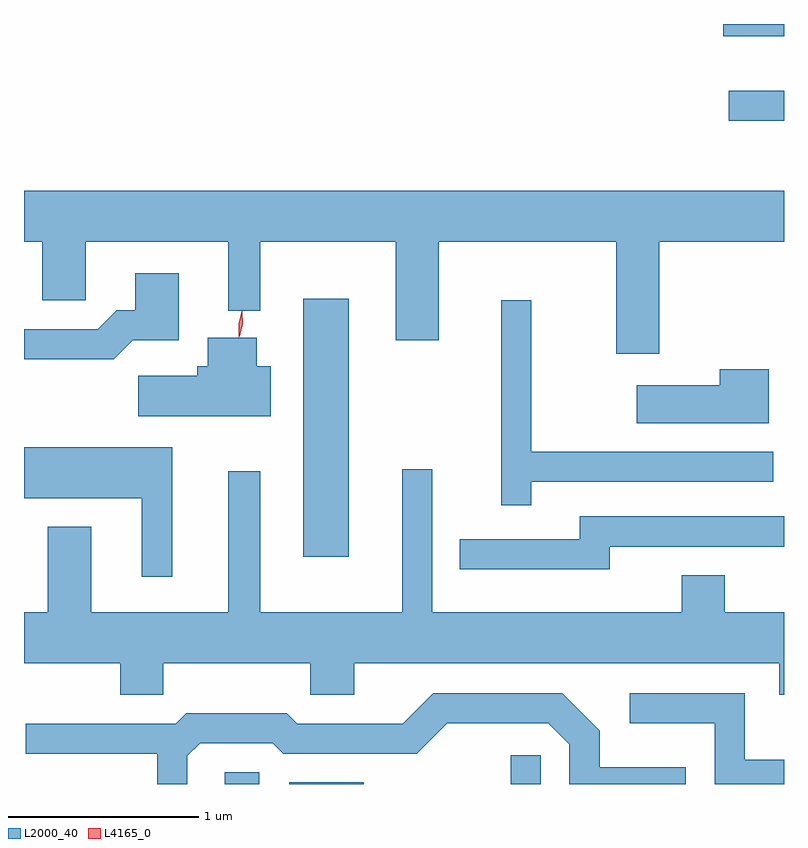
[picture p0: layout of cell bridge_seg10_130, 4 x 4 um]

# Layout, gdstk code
import gdstk
lib = gdstk.Library(unit=1e-6, precision=1e-09)
def R(c, l, rs):  # rectangles x0, y0, x1, y1
    for r in rs: c.add(gdstk.rectangle(r[:2], r[2:], *l))
def P(c, l, *ps):  # polygons
    for p in ps: c.add(gdstk.Polygon(p, *l))
L2000_40 = (2000, 40)
L4165_0 = (4165, 0)

bridge_seg10_130 = lib.new_cell('bridge_seg10_130')
R(bridge_seg10_130, L2000_40, [(1495.821,2131.041,1496.004,2131.104), (1496.161,2131.041,1496.554,2131.049), (1497.326,2131.041,1497.484,2131.193), (1496.236,2132.236,1496.474,2133.594), (1498.473,2134.531,1498.765,2134.689), (1498.446,2134.976,1498.765,2135.041)])
P(bridge_seg10_130, L2000_40, [(1498.109,2133.896),(1498.765,2133.896),(1498.765,2134.164),(1494.765,2134.164),(1494.765,2133.896),(1494.861,2133.896),(1494.861,2133.586),(1495.089,2133.586),(1495.089,2133.896),(1495.841,2133.896),(1495.841,2133.533),(1496.009,2133.533),(1496.009,2133.896),(1496.721,2133.896),(1496.721,2133.376),(1496.949,2133.376),(1496.949,2133.896),(1497.881,2133.896),(1497.881,2133.306),(1498.109,2133.306)],
  [(1495.337,2133.376),(1495.579,2133.376),(1495.579,2133.729),(1495.351,2133.729),(1495.351,2133.534),(1495.254,2133.534),(1495.154,2133.434),(1494.765,2133.434),(1494.765,2133.276),(1495.237,2133.276)],
  [(1497.434,2132.631),(1498.708,2132.631),(1498.708,2132.789),(1497.434,2132.789),(1497.434,2133.588),(1497.276,2133.588),(1497.276,2132.508),(1497.434,2132.508)],
  [(1496.064,2133.239),(1495.989,2133.239),(1495.989,2133.389),(1495.731,2133.389),(1495.731,2133.239),(1495.676,2133.239),(1495.676,2133.189),(1495.366,2133.189),(1495.366,2132.976),(1496.064,2132.976)],
  [(1498.684,2133.224),(1498.426,2133.224),(1498.426,2133.139),(1497.991,2133.139),(1497.991,2132.941),(1498.684,2132.941)],
  [(1495.544,2132.814),(1494.765,2132.814),(1494.765,2132.546),(1495.386,2132.546),(1495.386,2132.133),(1495.544,2132.133)],
  [(1495.499,2131.676),(1496.271,2131.676),(1496.271,2131.511),(1496.504,2131.511),(1496.504,2131.676),(1498.741,2131.676),(1498.741,2131.511),(1498.765,2131.511),(1498.765,2131.944),(1498.454,2131.944),(1498.454,2132.139),(1498.226,2132.139),(1498.226,2131.944),(1496.914,2131.944),(1496.914,2132.698),(1496.756,2132.698),(1496.756,2131.944),(1496.009,2131.944),(1496.009,2132.688),(1495.841,2132.688),(1495.841,2131.944),(1495.119,2131.944),(1495.119,2132.394),(1494.891,2132.394),(1494.891,2131.944),(1494.765,2131.944),(1494.765,2131.676),(1495.271,2131.676),(1495.271,2131.511),(1495.499,2131.511)],
  [(1497.849,2132.291),(1498.765,2132.291),(1498.765,2132.449),(1497.691,2132.449),(1497.691,2132.329),(1497.058,2132.329),(1497.058,2132.171),(1497.849,2132.171)],
  [(1498.765,2131.169),(1498.559,2131.169),(1498.559,2131.519),(1497.953,2131.519),(1497.953,2131.361),(1498.401,2131.361),(1498.401,2131.041),(1498.765,2131.041)],
  [(1495.624,2131.189),(1495.692,2131.256),(1496.074,2131.256),(1496.129,2131.201),(1496.832,2131.201),(1496.992,2131.361),(1497.524,2131.361),(1497.636,2131.249),(1497.636,2131.041),(1498.249,2131.041),(1498.249,2131.129),(1497.794,2131.129),(1497.794,2131.322),(1497.597,2131.519),(1496.919,2131.519),(1496.759,2131.359),(1496.202,2131.359),(1496.147,2131.414),(1495.619,2131.414),(1495.564,2131.359),(1494.773,2131.359),(1494.773,2131.201),(1495.466,2131.201),(1495.466,2131.041),(1495.624,2131.041)])
P(bridge_seg10_130, L4165_0, [(1495.895,2133.392),(1495.894,2133.393),(1495.894,2133.463),(1495.912,2133.53),(1495.913,2133.531),(1495.913,2133.53),(1495.914,2133.46),(1495.895,2133.393)],
  [(1495.9,2133.396),(1495.899,2133.397),(1495.896,2133.463),(1495.912,2133.527),(1495.913,2133.528),(1495.913,2133.527),(1495.916,2133.461),(1495.9,2133.397)])

lib.write_gds('bridge_seg10_130.gds')
